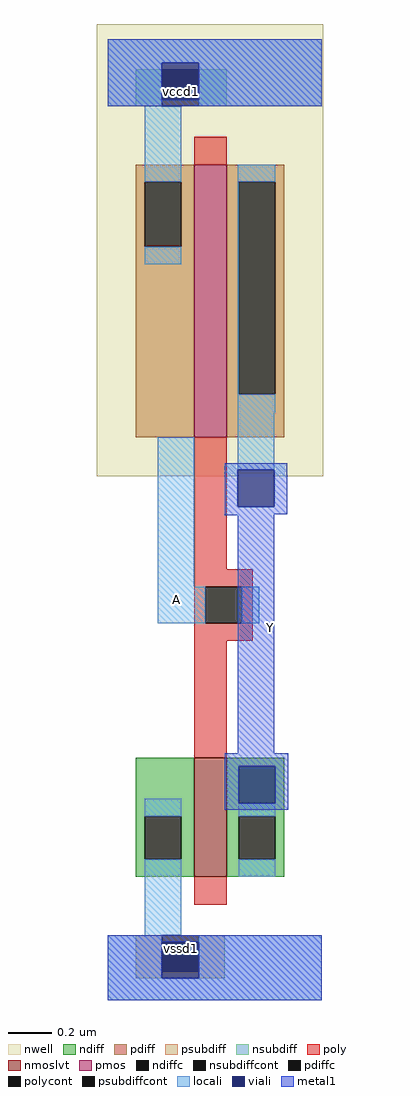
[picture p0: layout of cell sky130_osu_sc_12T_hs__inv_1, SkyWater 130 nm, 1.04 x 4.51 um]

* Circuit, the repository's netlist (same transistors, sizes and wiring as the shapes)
* NGSPICE file created from sky130_osu_sc_12T_hs__inv_1.ext - technology: sky130A

.subckt sky130_osu_sc_12T_hs__inv_1 Y A vccd1 vssd1
X0 Y A vccd1 vccd1 sky130_fd_pr__pfet_01v8 ad=0.3339 pd=3.05 as=0.3402 ps=3.06 w=1.26 l=0.15
X1 Y A vssd1 vssd1 sky130_fd_pr__nfet_01v8_lvt ad=0.14575 pd=1.63 as=0.1485 ps=1.64 w=0.55 l=0.15
.ends

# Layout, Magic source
magic
tech sky130A
magscale 1 2
<< nwell >>
rect -10 484 199 902
<< pmos >>
rect 80 520 110 772
<< nmoslvt >>
rect 80 114 110 224
<< ndiff >>
rect 26 170 80 224
rect 26 130 34 170
rect 68 130 80 170
rect 26 114 80 130
rect 110 170 163 224
rect 110 130 121 170
rect 155 130 163 170
rect 110 114 163 130
<< pdiff >>
rect 26 756 80 772
rect 26 696 34 756
rect 68 696 80 756
rect 26 520 80 696
rect 110 756 163 772
rect 110 560 121 756
rect 155 560 163 756
rect 110 520 163 560
<< ndiffc >>
rect 34 130 68 170
rect 121 130 155 170
<< pdiffc >>
rect 34 696 68 756
rect 121 560 155 756
<< psubdiff >>
rect 26 26 50 60
rect 84 26 108 60
rect 26 20 108 26
<< nsubdiff >>
rect 26 826 50 860
rect 84 826 110 860
<< psubdiffcont >>
rect 50 26 84 60
<< nsubdiffcont >>
rect 50 826 84 860
<< poly >>
rect 80 772 110 798
rect 80 398 110 520
rect 80 382 134 398
rect 80 348 90 382
rect 124 348 134 382
rect 80 332 134 348
rect 80 224 110 332
rect 80 88 110 114
<< polycont >>
rect 90 348 124 382
<< locali >>
rect 0 866 198 888
rect 0 826 50 866
rect 84 826 198 866
rect 34 756 68 826
rect 34 680 68 696
rect 120 756 155 772
rect 120 560 121 756
rect 120 543 155 560
rect 46 382 80 520
rect 120 490 154 543
rect 46 348 90 382
rect 124 348 140 382
rect 34 170 68 186
rect 34 60 68 130
rect 121 170 155 182
rect 121 114 155 130
rect 0 20 50 60
rect 84 20 198 60
rect 0 0 198 20
<< viali >>
rect 50 860 84 866
rect 50 832 84 860
rect 120 456 154 490
rect 121 182 155 216
rect 50 26 84 54
rect 50 20 84 26
<< metal1 >>
rect 0 866 198 888
rect 0 832 50 866
rect 84 832 198 866
rect 0 826 198 832
rect 108 490 166 496
rect 108 456 120 490
rect 154 456 166 490
rect 108 449 166 456
rect 108 448 154 449
rect 120 228 154 448
rect 108 216 167 228
rect 108 182 121 216
rect 155 182 167 216
rect 108 176 167 182
rect 0 54 198 60
rect 0 20 50 54
rect 84 20 198 54
rect 0 0 198 20
<< labels >>
rlabel metal1 150 344 150 344 1 Y
port 1 n
rlabel viali 68 48 68 48 1 vssd1
port 4 n
rlabel viali 68 840 68 840 1 vccd1
port 3 n
rlabel locali 64 370 64 370 1 A
port 2 n
<< end >>
